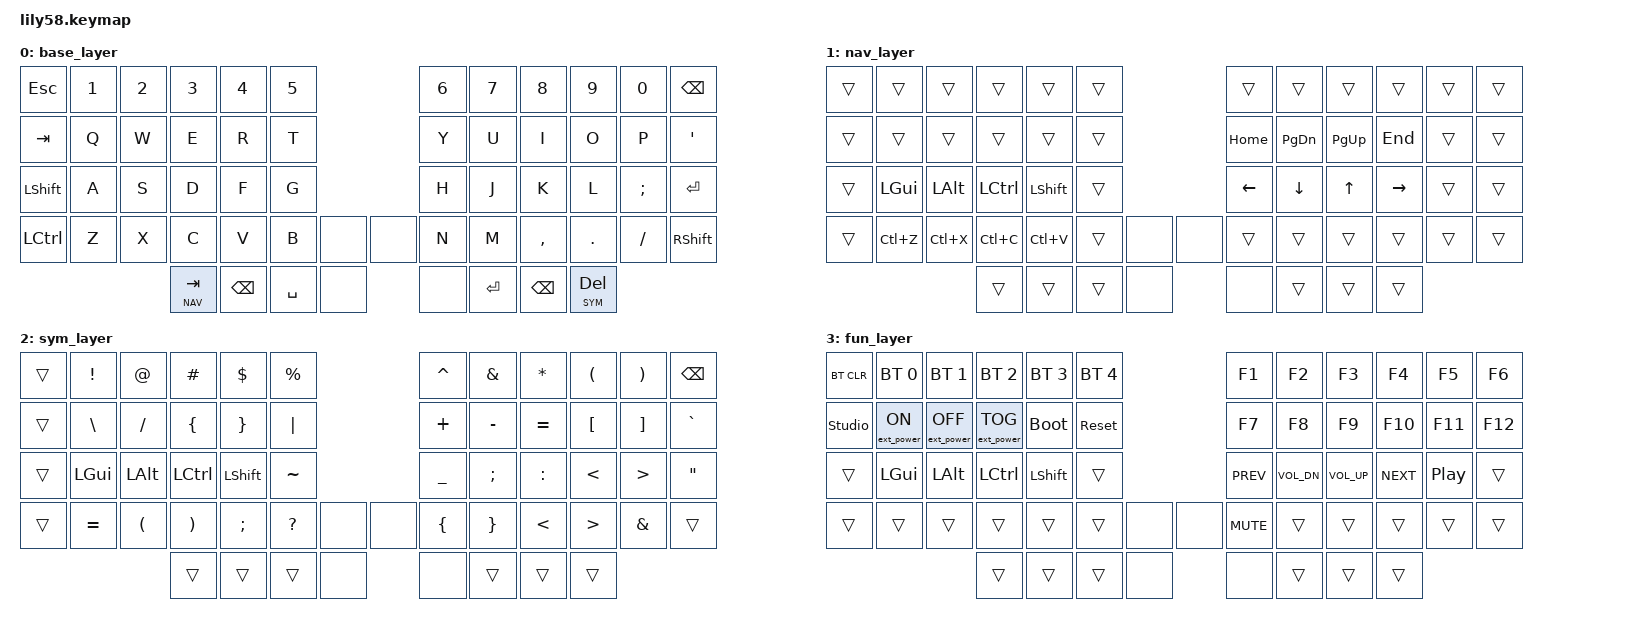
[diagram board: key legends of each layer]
/*
 * Copyright (c) 2020 The ZMK Contributors
 *
 * SPDX-License-Identifier: MIT
 *
 * Lily58 (54-key build: 6x4 grid + 3 thumbs per half)
 * Base: QWERTY + home-row mods (GACS). Layers: NAV, SYM, FUN (tri-layer).
 *
 * Physical board is missing 4 of the 58 firmware positions:
 *   - the 2 inner bottom keys (positions 42, 43)  -> &none
 *   - the outermost thumb on each side (50, 57)    -> &none
 * The 3 thumbs you have map to the 3 inner thumb positions per side.
 * If a thumb key is dead after flashing, your missing thumb is a different
 * one -- tell me and I shift the &none.
 */

#include <behaviors.dtsi>
#include <dt-bindings/zmk/keys.h>
#include <dt-bindings/zmk/bt.h>
#include <dt-bindings/zmk/ext_power.h>
#include <dt-bindings/zmk/outputs.h>

#define BASE 0
#define NAV  1
#define SYM  2
#define FUN  3

/* Key-position groups for home-row-mod opposite-hand triggering.
 * Positions are row-major as they appear in the bindings below. */
#define KEYS_L  0 1 2 3 4 5 12 13 14 15 16 17 24 25 26 27 28 29 36 37 38 39 40 41 42
#define KEYS_R  6 7 8 9 10 11 18 19 20 21 22 23 30 31 32 33 34 35 43 44 45 46 47 48 49
#define THUMBS  50 51 52 53 54 55 56 57

/ {
    behaviors {
        // Left-hand home-row mod: only triggers as a mod when an
        // opposite-side (right or thumb) key is pressed.
        hml: home_row_mod_left {
            compatible = "zmk,behavior-hold-tap";
            #binding-cells = <2>;
            flavor = "balanced";
            tapping-term-ms = <200>;
            quick-tap-ms = <175>;
            require-prior-idle-ms = <150>;
            hold-trigger-key-positions = <KEYS_R THUMBS>;
            hold-trigger-on-release;
            bindings = <&kp>, <&kp>;
        };

        hmr: home_row_mod_right {
            compatible = "zmk,behavior-hold-tap";
            #binding-cells = <2>;
            flavor = "balanced";
            tapping-term-ms = <200>;
            quick-tap-ms = <175>;
            require-prior-idle-ms = <150>;
            hold-trigger-key-positions = <KEYS_L THUMBS>;
            hold-trigger-on-release;
            bindings = <&kp>, <&kp>;
        };

        // Thumb layer-tap: hold-preferred so pressing any key while held
        // switches layer immediately (default &lt is tap-preferred and
        // ignores the hold unless you wait out the full tapping term).
        ltt: layer_tap_thumb {
            compatible = "zmk,behavior-hold-tap";
            #binding-cells = <2>;
            flavor = "hold-preferred";
            tapping-term-ms = <200>;
            quick-tap-ms = <175>;
            bindings = <&mo>, <&kp>;
        };

        // Thumb mod-tap: tap = key, hold = modifier. balanced flavor so a
        // deliberate thumb hold + another key gives the mod cleanly.
        mtt: mod_tap_thumb {
            compatible = "zmk,behavior-hold-tap";
            #binding-cells = <2>;
            flavor = "balanced";
            tapping-term-ms = <200>;
            quick-tap-ms = <175>;
            bindings = <&kp>, <&kp>;
        };
    };

    conditional_layers {
        compatible = "zmk,conditional-layers";
        // Hold NAV + SYM (any combination of their thumbs) -> FUN layer.
        tri_fun {
            if-layers = <NAV SYM>;
            then-layer = <FUN>;
        };
    };

    combos {
        compatible = "zmk,combos";
        // G + H pressed together -> unlock ZMK Studio.
        combo_studio_unlock {
            timeout-ms = <50>;
            key-positions = <29 30>;
            bindings = <&studio_unlock>;
        };
    };

    keymap {
        compatible = "zmk,keymap";

        base_layer {
// ------------------------------------------------------------------------------------------
// | ESC  |  1  |  2  |  3  |  4  |  5  |              |  6  |  7  |  8  |  9  |  0  | BSPC |
// | TAB  |  Q  |  W  |  E  |  R  |  T  |              |  Y  |  U  |  I  |  O  |  P  |  '   |
// | SHFT |  A  |  S  |  D  |  F  |  G  |              |  H  |  J  |  K  |  L  |  ;  | ENT  |
// | CTRL |  Z  |  X  |  C  |  V  |  B  |  X  |  | X   |  N  |  M  |  ,  |  .  |  /  | SHFT |
//        no home-row mods: A S D F / H J K L are plain (hold = key repeat)
// thumbs ->  L: TAB(hold NAV) | BSPC | SPACE     R: ENTER | BSPC | DEL(hold SYM)
//   hold NAV + SYM together = FUN layer
//   mods on outer cols: CTRL (left) + SHIFT (both pinkies); GUI/ALT on NAV/SYM home row
//   innermost thumb each side = no physical key (&none)
            bindings = <
&kp ESC   &kp N1       &kp N2       &kp N3        &kp N4       &kp N5                          &kp N6    &kp N7        &kp N8        &kp N9       &kp N0         &kp BSPC
&kp TAB   &kp Q        &kp W        &kp E         &kp R        &kp T                           &kp Y     &kp U         &kp I         &kp O        &kp P          &kp SQT
&kp LSHFT &kp A        &kp S        &kp D         &kp F        &kp G                           &kp H     &kp J         &kp K         &kp L        &kp SEMI       &kp RET
&kp LCTRL &kp Z        &kp X        &kp C         &kp V        &kp B    &none      &none       &kp N     &kp M         &kp COMMA     &kp DOT      &kp FSLH       &kp RSHFT
                                    &ltt NAV TAB  &kp BSPC      &kp SPACE      &none         &none        &kp RET       &kp BSPC      &ltt SYM DEL
            >;
        };

        nav_layer {
// Arrows + nav on the right hand; plain mods + clipboard on the left.
// ------------------------------------------------------------------------------------------
// |      |     |     |     |     |     |              |      |      |      |      |     |     |
// |      |     |     |     |     |     |              | HOME | PGDN | PGUP | END  |     |     |
// |      | GUI | ALT | CTL | SFT |     |              | LEFT | DOWN |  UP  | RIGHT|     |     |
// |      | UND | CUT | CPY | PST |     |     |  |      |      |      |      |      |     |     |
//                    |     |     |     |  |      |      |      |
            bindings = <
&trans  &trans     &trans     &trans     &trans     &trans                       &trans     &trans      &trans     &trans     &trans  &trans
&trans  &trans     &trans     &trans     &trans     &trans                       &kp HOME   &kp PG_DN   &kp PG_UP  &kp END    &trans  &trans
&trans  &kp LGUI   &kp LALT   &kp LCTRL  &kp LSHFT  &trans                       &kp LEFT   &kp DOWN    &kp UP     &kp RIGHT  &trans  &trans
&trans  &kp LC(Z)  &kp LC(X)  &kp LC(C)  &kp LC(V)  &trans   &none    &none      &trans     &trans      &trans     &trans     &trans  &trans
                              &trans     &trans     &trans   &none    &none      &trans     &trans      &trans
            >;
        };

        sym_layer {
// All coding symbols, both hands. Left home row keeps mods for symbol+mod combos.
// ------------------------------------------------------------------------------------------
// |      |  !  |  @  |  #  |  $  |  %  |              |  ^  |  &  |  *  |  (  |  )  | BSPC |
// |      |  \  |  /  |  {  |  }  | "|" |              |  +  |  -  |  =  |  [  |  ]  |  `   |
// |      | GUI | ALT | CTL | SFT |  ~  |              |  _  |  ;  |  :  |  <  |  >  |  "   |
// |      |  =  |  (  |  )  |  ;  |  ?  |  X  |  | X   |  {  |  }  |  <  |  >  |  &  |      |
//                    |     |     |     |  |      |     |     |
            bindings = <
&trans  &kp EXCL   &kp AT     &kp HASH   &kp DOLLAR &kp PRCNT                    &kp CARET  &kp AMPS   &kp ASTRK  &kp LPAR   &kp RPAR   &kp BSPC
&trans  &kp BSLH   &kp FSLH   &kp LBRC   &kp RBRC   &kp PIPE                     &kp PLUS   &kp MINUS  &kp EQUAL  &kp LBKT   &kp RBKT   &kp GRAVE
&trans  &kp LGUI   &kp LALT   &kp LCTRL  &kp LSHFT  &kp TILDE                    &kp UNDER  &kp SEMI   &kp COLON  &kp LT     &kp GT     &kp DQT
&trans  &kp EQUAL  &kp LPAR   &kp RPAR   &kp SEMI   &kp QMARK  &none    &none    &kp LBRC   &kp RBRC   &kp LT     &kp GT     &kp AMPS   &trans
                              &trans     &trans     &trans     &none    &none    &trans     &trans     &trans
            >;
        };

        fun_layer {
// F-keys, bluetooth, media, power, studio unlock. (Auto: hold NAV + SYM.)
// ------------------------------------------------------------------------------------------
// | BTCLR| BT0 | BT1 | BT2 | BT3 | BT4 |              |  F1 |  F2 |  F3 |  F4 |  F5 |  F6 |
// | UNLK | EPON| EPOF| EPTG| BOOT| RST |              |  F7 |  F8 |  F9 | F10 | F11 | F12 |
// |      | GUI | ALT | CTL | SFT |     |              | PREV| VOL-| VOL+| NEXT| PLAY|     |
// |      |     |     |     |     |     |  X  |  | X   | MUTE|     |     |     |     |     |
//                    |     |     |     |  |      |     |     |
            bindings = <
&bt BT_CLR     &bt BT_SEL 0     &bt BT_SEL 1      &bt BT_SEL 2      &bt BT_SEL 3 &bt BT_SEL 4              &kp F1     &kp F2       &kp F3       &kp F4      &kp F5    &kp F6
&studio_unlock &ext_power EP_ON &ext_power EP_OFF &ext_power EP_TOG &bootloader  &sys_reset               &kp F7     &kp F8       &kp F9       &kp F10     &kp F11   &kp F12
&trans         &kp LGUI         &kp LALT          &kp LCTRL         &kp LSHFT    &trans                   &kp C_PREV &kp C_VOL_DN &kp C_VOL_UP &kp C_NEXT  &kp C_PP  &trans
&trans         &trans           &trans            &trans            &trans       &trans   &none   &none   &kp C_MUTE &trans       &trans       &trans      &trans    &trans
                                                  &trans            &trans       &trans   &none   &none   &trans     &trans       &trans
            >;
        };
    };
};
